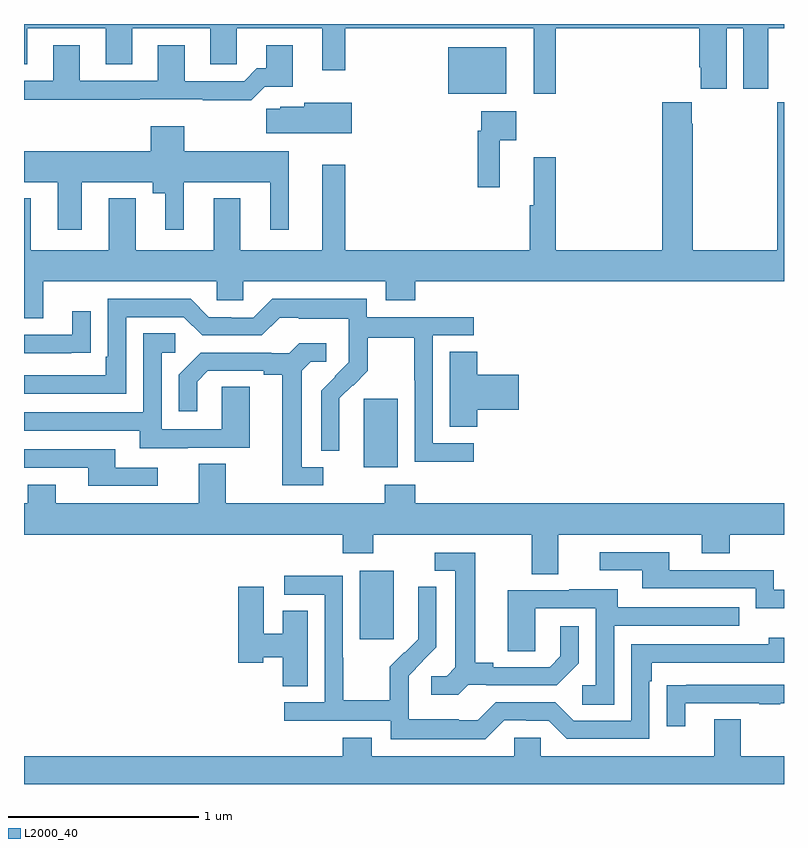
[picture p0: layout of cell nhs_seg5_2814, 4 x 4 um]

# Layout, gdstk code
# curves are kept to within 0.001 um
import gdstk
lib = gdstk.Library(unit=1e-6, precision=1e-09)
def R(c, l, rs):  # rectangles x0, y0, x1, y1
    for r in rs: c.add(gdstk.rectangle(r[:2], r[2:], *l))
def P(c, l, *ps):  # polygons
    for p in ps: c.add(gdstk.Polygon(p, *l))
L2000_40 = (2000, 40)

nhs_seg5_2814 = lib.new_cell('nhs_seg5_2814')
R(nhs_seg5_2814, L2000_40, [(276.767,837.561,276.946,837.922), (276.788,838.466,276.967,838.827), (277.232,840.431,277.537,840.676)])
P(nhs_seg5_2814, L2000_40, [(277.799,840.776),(278.555,840.776),(278.555,840.571),(278.561,840.571),(278.561,840.459),(278.698,840.459),(278.698,840.776),(278.786,840.776),(278.786,840.459),(278.917,840.459),(278.917,840.776),(279,840.776),(279,840.799),(275,840.799),(275,840.586),(275.017,840.586),(275.017,840.776),(275.429,840.776),(275.429,840.586),(275.569,840.586),(275.569,840.776),(275.981,840.776),(275.981,840.586),(276.12,840.586),(276.12,840.776),(276.569,840.776),(276.569,840.555),(276.691,840.555),(276.691,840.776),(277.682,840.776),(277.682,840.432),(277.799,840.432)],
  [(276.267,840.468),(276.415,840.468),(276.415,840.688),(276.275,840.688),(276.275,840.565),(276.226,840.565),(276.159,840.498),(275.845,840.498),(275.845,840.688),(275.705,840.688),(275.705,840.501),(275.293,840.501),(275.293,840.688),(275.153,840.688),(275.153,840.501),(275,840.501),(275,840.4),(275.609,840.4),(275.609,840.404),(275.941,840.404),(275.941,840.398),(276.197,840.398)],
  [(275.101,839.444),(276.015,839.444),(276.015,839.346),(276.153,839.346),(276.153,839.444),(276.905,839.444),(276.905,839.345),(277.058,839.345),(277.058,839.444),(279,839.444),(279,840.388),(278.965,840.388),(278.965,839.608),(278.52,839.608),(278.52,840.275),(278.515,840.275),(278.515,840.388),(278.36,840.388),(278.36,839.608),(277.799,839.608),(277.799,840.097),(277.682,840.097),(277.682,839.844),(277.663,839.844),(277.663,839.608),(276.691,839.608),(276.691,840.058),(276.569,840.058),(276.569,839.608),(276.139,839.608),(276.139,839.881),(275.999,839.881),(275.999,839.608),(275.587,839.608),(275.587,839.881),(275.447,839.881),(275.447,839.608),(275.035,839.608),(275.035,839.881),(275,839.881),(275,839.25),(275.101,839.25)],
  [(276.724,840.385),(276.474,840.385),(276.474,840.364),(276.348,840.364),(276.348,840.353),(276.276,840.353),(276.276,840.224),(276.724,840.224)],
  [(277.505,840.188),(277.591,840.188),(277.591,840.34),(277.407,840.34),(277.407,840.236),(277.387,840.236),(277.387,839.94),(277.505,839.94)],
  [(275.305,839.966),(275.678,839.966),(275.678,839.909),(275.744,839.909),(275.744,839.715),(275.842,839.715),(275.842,839.966),(276.296,839.966),(276.296,839.715),(276.394,839.715),(276.394,840.13),(275.844,840.13),(275.844,840.262),(275.666,840.262),(275.666,840.13),(275,840.13),(275,839.966),(275.177,839.966),(275.177,839.715),(275.305,839.715)],
  [(277.366,838.593),(277.152,838.593),(277.152,839.16),(277.366,839.16),(277.366,839.256),(276.804,839.256),(276.804,839.353),(276.307,839.353),(276.207,839.253),(276.092,839.253),(276.092,839.256),(275.973,839.256),(275.877,839.352),(275.442,839.352),(275.442,839.047),(275.429,839.047),(275.429,838.95),(275,838.95),(275,838.854),(275.538,838.854),(275.538,839.256),(275.841,839.256),(275.937,839.16),(276.252,839.16),(276.345,839.253),(276.445,839.253),(276.445,839.249),(276.708,839.249),(276.708,839.115),(276.71,839.115),(276.71,839.018),(276.564,838.87),(276.564,838.552),(276.66,838.552),(276.659,838.829),(276.729,838.899),(276.732,838.896),(276.809,838.973),(276.809,839.148),(277.054,839.148),(277.054,838.924),(277.056,838.924),(277.056,838.495),(277.366,838.495)],
  [(275.249,839.068),(275.351,839.068),(275.351,839.287),(275.255,839.287),(275.255,839.163),(275,839.163),(275,839.067),(275.249,839.067)],
  [(275.863,838.569),(276.187,838.569),(276.187,838.889),(276.042,838.889),(276.042,838.665),(275.724,838.665),(275.724,839.07),(275.797,839.07),(275.797,839.171),(275.628,839.171),(275.628,838.755),(275,838.755),(275,838.659),(275.609,838.659),(275.609,838.565),(275.863,838.565)],
  [(276.574,838.467),(276.463,838.467),(276.463,838.975),(276.51,839.022),(276.592,839.022),(276.592,839.119),(276.448,839.119),(276.396,839.067),(276.302,839.067),(276.302,839.07),(275.93,839.07),(275.814,838.954),(275.814,838.761),(275.911,838.761),(275.911,838.917),(275.968,838.974),(276.263,838.974),(276.263,838.952),(276.359,838.952),(276.359,838.371),(276.574,838.371)],
  [(277.385,838.769),(277.603,838.769),(277.603,838.952),(277.385,838.952),(277.385,839.075),(277.241,839.075),(277.241,838.678),(277.385,838.678)],
  [(275.704,838.464),(275.479,838.464),(275.479,838.56),(275,838.56),(275,838.464),(275.339,838.464),(275.339,838.368),(275.704,838.368)],
  [(277.813,838.112),(278.567,838.112),(278.567,838.013),(278.715,838.013),(278.715,838.112),(279,838.112),(279,838.276),(277.058,838.276),(277.058,838.375),(276.898,838.375),(276.898,838.276),(276.061,838.276),(276.061,838.484),(275.921,838.484),(275.921,838.276),(275.167,838.276),(275.167,838.375),(275.02,838.375),(275.02,838.276),(275,838.276),(275,838.112),(276.677,838.112),(276.677,838.013),(276.837,838.013),(276.837,838.112),(277.673,838.112),(277.673,837.904),(277.813,837.904)],
  [(279,837.822),(278.946,837.822),(278.946,837.924),(278.395,837.924),(278.395,838.02),(278.031,838.02),(278.031,837.924),(278.255,837.924),(278.255,837.828),(278.85,837.828),(278.85,837.725),(279,837.725)],
  [(277.338,837.321),(277.432,837.321),(277.432,837.318),(277.804,837.318),(277.92,837.434),(277.92,837.628),(277.823,837.628),(277.823,837.471),(277.766,837.414),(277.471,837.414),(277.471,837.437),(277.375,837.437),(277.375,838.017),(277.161,838.017),(277.161,837.921),(277.271,837.921),(277.271,837.413),(277.224,837.366),(277.143,837.366),(277.143,837.269),(277.286,837.269)],
  [(277.527,837.135),(277.643,837.135),(277.643,837.132),(277.761,837.132),(277.857,837.036),(278.292,837.036),(278.292,837.341),(278.305,837.341),(278.305,837.438),(279,837.438),(279,837.568),(278.921,837.568),(278.921,837.534),(278.196,837.534),(278.196,837.132),(277.893,837.132),(277.797,837.228),(277.482,837.228),(277.389,837.135),(277.289,837.135),(277.289,837.139),(277.026,837.139),(277.026,837.273),(277.024,837.273),(277.024,837.37),(277.17,837.518),(277.17,837.836),(277.074,837.836),(277.074,837.682),(277.076,837.682),(277.076,837.56),(277.005,837.489),(277.002,837.492),(276.925,837.415),(276.925,837.241),(276.681,837.241),(276.681,837.464),(276.678,837.464),(276.678,837.894),(276.369,837.894),(276.369,837.795),(276.582,837.795),(276.582,837.228),(276.369,837.228),(276.369,837.132),(276.93,837.132),(276.93,837.035),(277.427,837.035)],
  [(276.493,837.71),(276.362,837.71),(276.362,837.589),(276.262,837.589),(276.262,837.838),(276.128,837.838),(276.128,837.437),(276.258,837.437),(276.258,837.467),(276.362,837.467),(276.362,837.313),(276.493,837.313)],
  [(278.106,837.633),(278.765,837.633),(278.765,837.729),(278.125,837.729),(278.125,837.823),(277.871,837.823),(277.871,837.819),(277.547,837.819),(277.547,837.499),(277.692,837.499),(277.692,837.723),(278.01,837.723),(278.01,837.318),(277.938,837.318),(277.938,837.217),(278.106,837.217)],
  [(278.479,837.225),(278.869,837.225),(278.869,837.22),(278.981,837.22),(278.981,837.225),(279,837.225),(279,837.321),(278.485,837.321),(278.485,837.32),(278.383,837.32),(278.383,837.102),(278.479,837.102)],
  [(279,836.944),(278.773,836.944),(278.773,837.139),(278.633,837.139),(278.633,836.944),(277.719,836.944),(277.719,837.042),(277.581,837.042),(277.581,836.944),(276.829,836.944),(276.829,837.043),(276.677,837.043),(276.677,836.944),(275,836.944),(275,836.799),(279,836.799)])

lib.write_gds('nhs_seg5_2814.gds')
